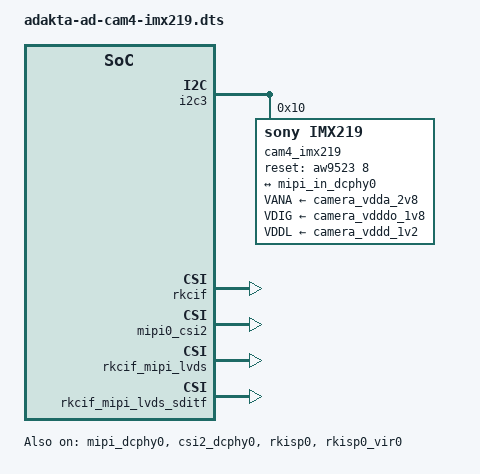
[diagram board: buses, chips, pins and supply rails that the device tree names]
/dts-v1/;
/plugin/;

#include <dt-bindings/power/rk3588-power.h>
#include <dt-bindings/gpio/gpio.h>
#include <dt-bindings/pinctrl/rockchip.h>

/ {
	metadata {
		title = "Enable Raspberry Pi Camera V2 4";
		compatible = "adakta,adakta-ad-rk3588";
		category = "camera";
		description = "Enable Raspberry Pi Camera V2 4";
	};

	fragment@0 {
		target = <&i2c3>;

		__overlay__ {
			status = "okay";

			cam4_imx219: cam4_imx219@10 {
				status = "okay";

				compatible = "sony,imx219";
				reg = <0x10>;

				power-domains = <&power RK3588_PD_VI>;
				rockchip,grf = <&sys_grf>;

				pinctrl-names = "default";
				pinctrl-0 = <&aw9523_cam4_reset_pins>;

				reset-gpios = <&aw9523 8 GPIO_ACTIVE_HIGH>;

				clocks = <&clk_cam_24m>;
				clock-names = "xvclk";

				VANA-supply = <&camera_vdda_2v8>;  /* 2.8v */
				VDIG-supply = <&camera_vdddo_1v8>; /* 1.8v */
				VDDL-supply = <&camera_vddd_1v2>;  /* 1.2v */

				rockchip,camera-module-index = <4>;
				rockchip,camera-module-facing = "back";
				rockchip,camera-module-name = "rpi-camera-v2";
				rockchip,camera-module-lens-name = "default";

				port {
					cam4_imx219_out: endpoint {
						status = "okay";
						remote-endpoint = <&mipi_in_dcphy0>;
						data-lanes = <1 2>;
						clock-noncontinuous;
						link-frequencies = /bits/ 64 <456000000>;
					};
				};
			};
		};
	};

	fragment@1 {
		target = <&mipi_in_dcphy0>;

		__overlay__ {
			remote-endpoint = <&cam4_imx219_out>;
			data-lanes = <1 2>;
		};
	};

	fragment@2 {
		target = <&rkcif>;

		__overlay__ {
			status = "okay";
		};
	};

	fragment@3 {
		target = <&rkcif_mmu>;

		__overlay__ {
			status = "okay";
		};
	};

	fragment@4 {
		target = <&mipi_dcphy0>;

		__overlay__ {
			status = "okay";
		};
	};

	fragment@5 {
		target = <&csi2_dcphy0>;

		__overlay__ {
			status = "okay";
		};
	};

	fragment@6 {
		target = <&mipi0_csi2>;

		__overlay__ {
			status = "okay";
		};
	};

	fragment@7 {
		target = <&rkcif_mipi_lvds>;

		__overlay__ {
			status = "okay";
		};
	};

	fragment@8 {
		target = <&rkcif_mipi_lvds_sditf>;

		__overlay__ {
			status = "okay";
		};
	};

	fragment@9 {
		target = <&rkisp0>;

		__overlay__ {
			status = "okay";
		};
	};

	fragment@10 {
		target = <&isp0_mmu>;

		__overlay__ {
			status = "okay";
		};
	};

	fragment@11 {
		target = <&rkisp0_vir0>;

		__overlay__ {
			status = "okay";
		};
	};
};
